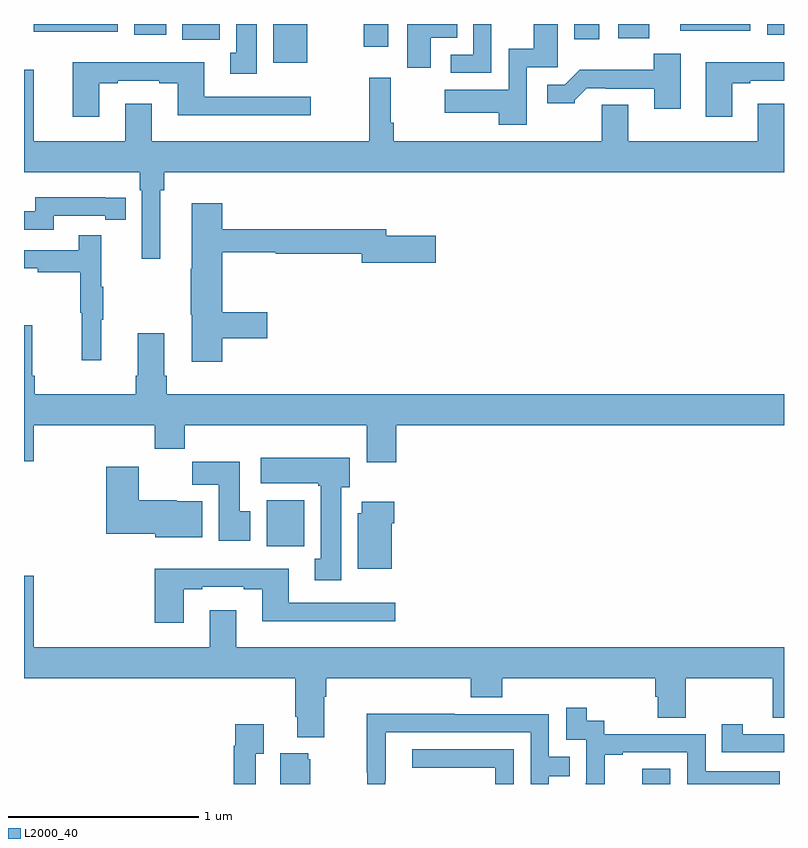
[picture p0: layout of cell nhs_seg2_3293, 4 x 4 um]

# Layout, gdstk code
import gdstk
lib = gdstk.Library(unit=1e-6, precision=1e-09)
def R(c, l, rs):  # rectangles x0, y0, x1, y1
    for r in rs: c.add(gdstk.rectangle(r[:2], r[2:], *l))
def P(c, l, *ps):  # polygons
    for p in ps: c.add(gdstk.Polygon(p, *l))
L2000_40 = (2000, 40)

nhs_seg2_3293 = lib.new_cell('nhs_seg2_3293')
R(nhs_seg2_3293, L2000_40, [(288.255,593.8,288.402,593.881), (286.277,595.052,286.474,595.294), (286.313,597.596,286.492,597.8), (286.789,597.681,286.918,597.8), (285.833,597.716,286.03,597.8), (287.897,597.72,288.028,597.8), (288.128,597.725,288.29,597.8), (285.581,597.744,285.748,597.8), (288.911,597.744,289,597.8), (285.05,597.758,285.493,597.8), (288.453,597.764,288.823,597.8)])
P(nhs_seg2_3293, L2000_40, [(287.46,597.8),(287.364,597.8),(287.364,597.639),(287.247,597.639),(287.247,597.543),(287.46,597.543)],
  [(287.646,597.573),(287.809,597.573),(287.809,597.8),(287.684,597.8),(287.684,597.67),(287.55,597.67),(287.55,597.454),(287.214,597.454),(287.214,597.332),(287.498,597.332),(287.498,597.27),(287.646,597.27)],
  [(287.14,597.728),(287.279,597.728),(287.279,597.8),(287.018,597.8),(287.018,597.57),(287.14,597.57)],
  [(286.225,597.8),(286.118,597.8),(286.118,597.65),(286.085,597.65),(286.085,597.537),(286.225,597.537)],
  [(288.457,597.643),(288.315,597.643),(288.315,597.559),(287.926,597.559),(287.847,597.48),(287.754,597.48),(287.754,597.383),(287.898,597.383),(287.898,597.398),(287.962,597.462),(288.061,597.462),(288.061,597.459),(288.317,597.459),(288.317,597.354),(288.457,597.354)],
  [(285.397,597.489),(285.493,597.489),(285.493,597.501),(285.713,597.501),(285.713,597.489),(285.809,597.489),(285.809,597.32),(286.51,597.32),(286.51,597.417),(285.949,597.417),(285.949,597.598),(285.257,597.598),(285.257,597.312),(285.397,597.312)],
  [(288.727,597.489),(288.823,597.489),(288.823,597.501),(289,597.501),(289,597.598),(288.587,597.598),(288.587,597.312),(288.727,597.312)],
  [(285.718,596.924),(285.737,596.924),(285.737,597.02),(289,597.02),(289,597.379),(288.863,597.379),(288.863,597.184),(288.181,597.184),(288.181,597.374),(288.041,597.374),(288.041,597.184),(286.946,597.184),(286.946,597.28),(286.931,597.28),(286.931,597.517),(286.818,597.517),(286.818,597.184),(285.673,597.184),(285.673,597.379),(285.533,597.379),(285.533,597.184),(285.052,597.184),(285.052,597.559),(285,597.559),(285,597.02),(285.608,597.02),(285.608,596.924),(285.621,596.924),(285.621,596.565),(285.718,596.565)],
  [(285.156,596.79),(285.428,596.79),(285.428,596.77),(285.536,596.77),(285.536,596.886),(285.428,596.886),(285.428,596.887),(285.06,596.887),(285.06,596.814),(285,596.814),(285,596.718),(285.156,596.718)],
  [(286.043,596.146),(286.279,596.146),(286.279,596.283),(286.043,596.283),(286.043,596.598),(286.326,596.598),(286.326,596.59),(286.778,596.59),(286.778,596.543),(287.167,596.543),(287.167,596.685),(286.906,596.685),(286.906,596.719),(286.043,596.719),(286.043,596.857),(285.884,596.857),(285.884,596.513),(285.877,596.513),(285.877,596.271),(285.884,596.271),(285.884,596.022),(286.043,596.022)],
  [(285.407,596.243),(285.418,596.243),(285.418,596.417),(285.407,596.417),(285.407,596.689),(285.289,596.689),(285.289,596.61),(285,596.61),(285,596.514),(285.073,596.514),(285.073,596.494),(285.297,596.494),(285.297,596.28),(285.304,596.28),(285.304,596.031),(285.407,596.031)],
  [(286.958,595.688),(289,595.688),(289,595.852),(285.752,595.852),(285.752,595.948),(285.739,595.948),(285.739,596.173),(285.599,596.173),(285.599,595.948),(285.587,595.948),(285.587,595.852),(285.056,595.852),(285.056,595.948),(285.043,595.948),(285.043,596.215),(285,596.215),(285,595.5),(285.052,595.5),(285.052,595.688),(285.689,595.688),(285.689,595.564),(285.845,595.564),(285.845,595.688),(286.805,595.688),(286.805,595.494),(286.958,595.494)],
  [(286.669,595.362),(286.714,595.362),(286.714,595.516),(286.245,595.516),(286.245,595.382),(286.549,595.382),(286.549,595.369),(286.562,595.369),(286.562,594.986),(286.529,594.986),(286.529,594.873),(286.669,594.873)],
  [(286.192,595.236),(286.135,595.236),(286.135,595.495),(285.886,595.495),(285.886,595.376),(286.025,595.376),(286.025,595.08),(286.192,595.08)],
  [(285.937,595.288),(285.804,595.288),(285.804,595.294),(285.604,595.294),(285.604,595.471),(285.434,595.471),(285.434,595.118),(285.69,595.118),(285.69,595.1),(285.937,595.1)],
  [(286.936,595.172),(286.949,595.172),(286.949,595.285),(286.778,595.285),(286.778,595.224),(286.757,595.224),(286.757,594.932),(286.936,594.932)],
  [(285.841,594.825),(285.937,594.825),(285.937,594.837),(286.157,594.837),(286.157,594.825),(286.253,594.825),(286.253,594.656),(286.954,594.656),(286.954,594.753),(286.393,594.753),(286.393,594.934),(285.689,594.934),(285.689,594.648),(285.841,594.648)],
  [(286.579,594.26),(286.592,594.26),(286.592,594.356),(287.351,594.356),(287.351,594.257),(287.516,594.257),(287.516,594.356),(288.323,594.356),(288.323,594.258),(288.335,594.258),(288.335,594.148),(288.483,594.148),(288.483,594.356),(288.94,594.356),(288.94,594.148),(289,594.148),(289,594.52),(286.117,594.52),(286.117,594.715),(285.977,594.715),(285.977,594.52),(285.052,594.52),(285.052,594.895),(285,594.895),(285,594.356),(286.427,594.356),(286.427,594.154),(286.439,594.154),(286.439,594.047),(286.579,594.047)],
  [(288.056,593.955),(288.151,593.955),(288.151,593.967),(288.492,593.967),(288.492,593.8),(288.977,593.8),(288.977,593.868),(288.588,593.868),(288.588,594.063),(288.054,594.063),(288.054,594.132),(287.962,594.132),(287.962,594.202),(287.853,594.202),(287.853,594.033),(287.958,594.033),(287.958,593.804),(287.957,593.804),(287.957,593.8),(288.056,593.8)],
  [(286.902,593.818),(286.903,593.818),(286.903,594.072),(287.667,594.072),(287.667,593.8),(287.763,593.8),(287.763,593.842),(287.873,593.842),(287.873,593.943),(287.763,593.943),(287.763,594.168),(287.267,594.168),(287.267,594.17),(286.804,594.17),(286.804,593.863),(286.806,593.863),(286.806,593.8),(286.902,593.8)],
  [(289,594.063),(288.784,594.063),(288.784,594.115),(288.673,594.115),(288.673,593.967),(289,593.967)],
  [(286.221,593.959),(286.261,593.959),(286.261,594.115),(286.113,594.115),(286.113,594.002),(286.105,594.002),(286.105,593.8),(286.221,593.8)],
  [(287.577,593.982),(287.043,593.982),(287.043,593.886),(287.481,593.886),(287.481,593.8),(287.577,593.8)],
  [(286.507,593.931),(286.496,593.931),(286.496,593.962),(286.349,593.962),(286.349,593.8),(286.507,593.8)])

lib.write_gds('nhs_seg2_3293.gds')
